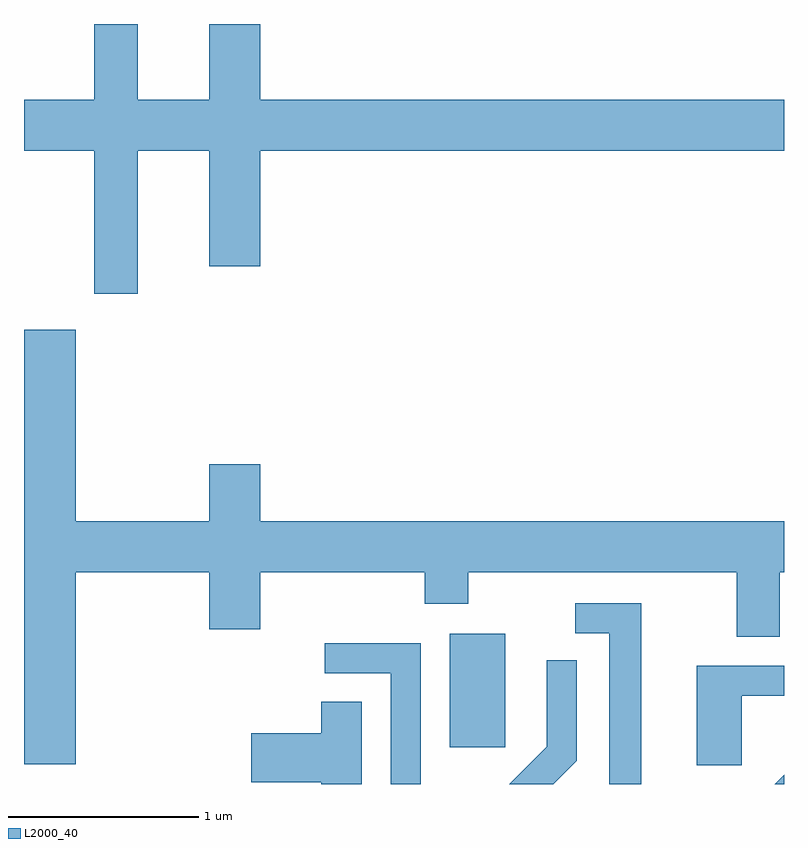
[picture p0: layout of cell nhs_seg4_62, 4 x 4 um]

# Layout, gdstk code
import gdstk
lib = gdstk.Library(unit=1e-6, precision=1e-09)
def R(c, l, rs):  # rectangles x0, y0, x1, y1
    for r in rs: c.add(gdstk.rectangle(r[:2], r[2:], *l))
def P(c, l, *ps):  # polygons
    for p in ps: c.add(gdstk.Polygon(p, *l))
L2000_40 = (2000, 40)

nhs_seg4_62 = lib.new_cell('nhs_seg4_62')
R(nhs_seg4_62, L2000_40, [(187.851,1378.176,188.144,1378.774)])
P(nhs_seg4_62, L2000_40, [(186.209,1381.316),(186.586,1381.316),(186.586,1380.706),(186.854,1380.706),(186.854,1381.316),(189.611,1381.316),(189.611,1381.584),(186.854,1381.584),(186.854,1381.982),(186.586,1381.982),(186.586,1381.584),(186.209,1381.584),(186.209,1381.982),(185.981,1381.982),(185.981,1381.584),(185.611,1381.584),(185.611,1381.316),(185.981,1381.316),(185.981,1380.561),(186.209,1380.561)],
  [(185.884,1379.096),(186.586,1379.096),(186.586,1378.796),(186.854,1378.796),(186.854,1379.096),(187.721,1379.096),(187.721,1378.931),(187.949,1378.931),(187.949,1379.096),(189.361,1379.096),(189.361,1378.756),(189.589,1378.756),(189.589,1379.096),(189.611,1379.096),(189.611,1379.364),(186.854,1379.364),(186.854,1379.664),(186.586,1379.664),(186.586,1379.364),(185.884,1379.364),(185.884,1380.374),(185.611,1380.374),(185.611,1378.086),(185.884,1378.086)],
  [(188.859,1378.934),(188.513,1378.934),(188.513,1378.776),(188.691,1378.776),(188.691,1377.982),(188.859,1377.982)],
  [(187.699,1378.724),(187.193,1378.724),(187.193,1378.566),(187.541,1378.566),(187.541,1377.982),(187.699,1377.982)],
  [(188.519,1378.104),(188.519,1378.633),(188.361,1378.633),(188.361,1378.177),(188.166,1377.982),(188.397,1377.982)],
  [(189.389,1378.446),(189.611,1378.446),(189.611,1378.604),(189.151,1378.604),(189.151,1378.081),(189.389,1378.081)],
  [(187.389,1378.414),(187.176,1378.414),(187.176,1378.249),(186.806,1378.249),(186.806,1377.991),(187.176,1377.991),(187.176,1377.982),(187.389,1377.982)],
  [(189.611,1378.032),(189.561,1377.982),(189.611,1377.982)])

lib.write_gds('nhs_seg4_62.gds')
